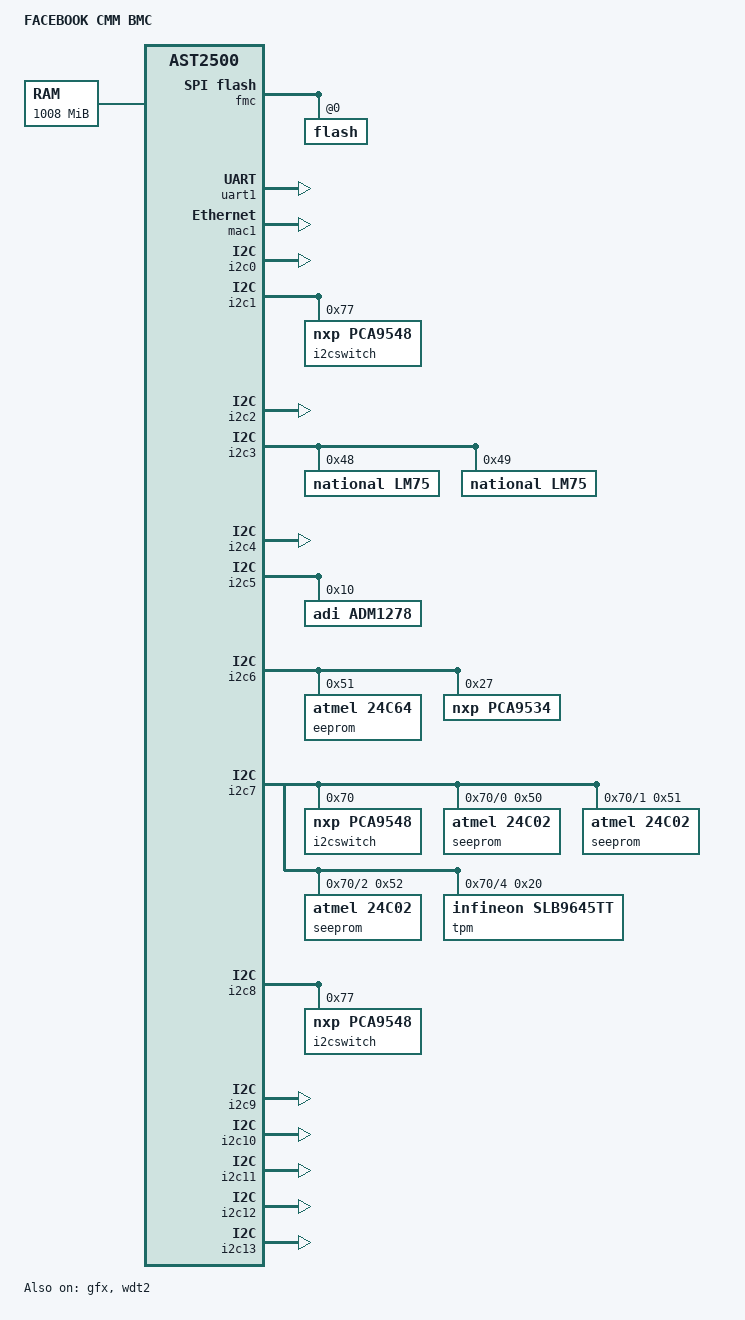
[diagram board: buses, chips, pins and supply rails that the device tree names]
/dts-v1/;

#include "aspeed-g5.dtsi"

/ {
	model = "FACEBOOK CMM BMC";
	compatible = "facebook,cmm-bmc", "aspeed,ast2500";

	aliases {
		serial1 = &uart1;
	};

	chosen {
		stdout-path = &uart1;
		bootargs = "console=ttyS1,115200 earlyprintk";
	};

	memory {
		reg = <0x80000000 0x3f000000>;
	};
};

&fmc {
	status = "okay";
	flash@0 {
		status = "okay";
		m25p,fast-read;
#include "aspeed-bmc-facebook-cmm-flash-layout.dtsi"
	};

};

&uart1 {
	status = "okay";
};

&mac1 {
	status = "okay";
};

&i2c0 {
	status = "okay";
};

&i2c1 {
	status = "okay";

	i2cswitch@77 {
		compatible = "nxp,pca9548";
		#address-cells = <1>;
		#size-cells = <0>;
		reg = <0x77>;

		/* To connect to SCM_LC & SCM_FC */
	};
};

&i2c2 {
	status = "okay";
	/* PCA9510AD buffer to connect PDU */
};

&i2c3 {
	status = "okay";

	lm75@48 {
		compatible = "national,lm75";
		reg = <0x48>;
	};

	lm75@49 {
		compatible = "national,lm75";
		reg = <0x49>;
	};
};

&i2c4 {
	status = "okay";
};

&i2c5 {
	status = "okay";

	adm1278@10 {
		compatible = "adi,adm1278";
		reg = <0x10>;
	};
};

&i2c6 {
	status = "okay";
	eeprom@51 {
		compatible = "atmel,24c64";
		reg = <0x51>;
		pagesize = <16>;
	};

	pca9534@27 {
		compatible = "nxp,pca9534";
		reg = <0x27>;
		gpio-controller;
		#gpio-cells = <1>;
	};

};

&i2c7 {
	status = "okay";

	i2cswitch@70 {
		compatible = "nxp,pca9548";
		#address-cells = <1>;
		#size-cells = <0>;
		reg = <0x70>;

		i2c@0 {
			#address-cells = <1>;
			#size-cells = <0>;
			reg = <0>;
			seeprom@50 {
				compatible = "atmel,24c02";
				reg = <0x50>;
				pagesize = <16>;
			};
		};

		i2c@1 {
			#address-cells = <1>;
			#size-cells = <0>;
			reg = <1>;
			seeprom@51 {
				compatible = "atmel,24c02";
				reg = <0x51>;
				pagesize = <16>;
			};
		};

		i2c@2 {
			#address-cells = <1>;
			#size-cells = <0>;
			reg = <2>;
			seeprom@52 {
				compatible = "atmel,24c02";
				reg = <0x52>;
				pagesize = <16>;
			};
		};

		i2c@4 {
			#address-cells = <1>;
			#size-cells = <0>;
			reg = <4>;
			clock-frequency = <400000>;
			tpm@20 {
				compatible = "infineon,slb9645tt";
				reg = <0x20>;
			};

		};
	};
};

&i2c8 {
	status = "okay";

	i2cswitch@77 {
		compatible = "nxp,pca9548";
		#address-cells = <1>;
		#size-cells = <0>;
		reg = <0x77>;

		/* To connect to Fan board */
	};
};

&i2c9 {
	status = "okay";
};

&i2c10 {
	status = "okay";
};

&i2c11 {
	status = "okay";
};

&i2c12 {
	status = "okay";
};

&i2c13 {
	status = "okay";
	/* CPLD at reg = <3E> */
};

&gfx {
	status = "okay";
};

&pinctrl {
	aspeed,external-nodes = <&gfx &lhc>;
};

&wdt2 {
	status = "okay";
};
